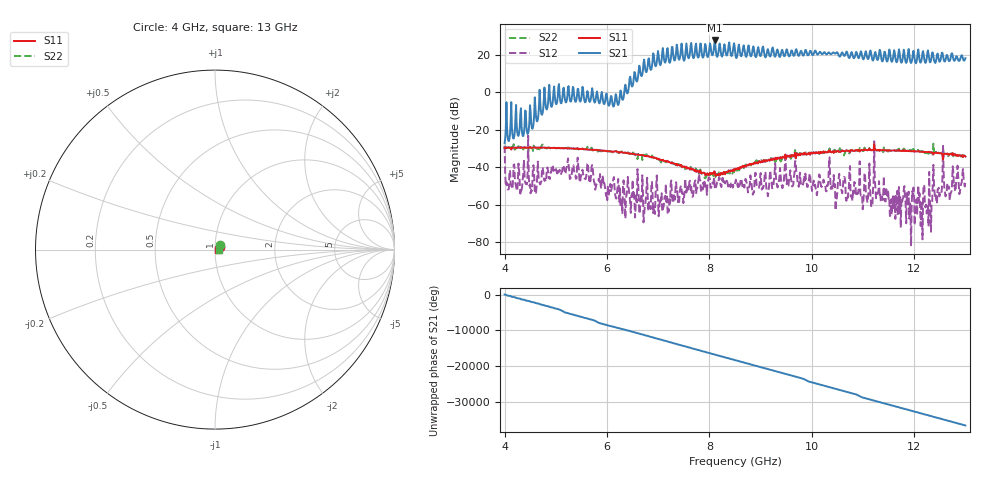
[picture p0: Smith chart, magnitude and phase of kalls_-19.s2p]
! Micran, Research & Production Company
! Date: 2025-04-17 14:09:10
! Frequency	S11	S21	S12	S22
# Hz S dB R 50
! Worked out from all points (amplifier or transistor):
!   764 points, 4 GHz to 13 GHz, reference 50 ohm
!   highest |S21| = 27.6 dB at 8.105 GHz (marker M1)
!   |S21| within 3 dB of that: 8.091682 GHz to 8.117525 GHz (25.84 MHz wide, 0.319 % of centre)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
!   unconditionally stable (mu >= 1): start of sweep to end of sweep
!   at 5.498 GHz: K = 112.11, MAG = -3.2 dB, |S12| = -43.8 dB
!   at 8.506 GHz: K = 11.37, MAG = 20.7 dB, |S12| = -47.8 dB
!   at 13 GHz: K = 14.66, MAG = 18.2 dB, |S12| = -47.5 dB
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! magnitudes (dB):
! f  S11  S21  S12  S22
! 4 GHz  -29.6  -27.1  -28.5  -28.5
! 4.047 GHz  -29.5  -18.8  -48.9  -29.6
! 4.448 GHz  -29.5  -22.2  -44.3  -30.0
! 4.507 GHz  -29.5  -10.2  -53.8  -29.5
! 4.873 GHz  -29.5  4.0  -45.3  -29.7
! 5.51 GHz  -30.1  -0.3  -42.4  -30.2
! 6.218 GHz  -31.8  -6.8  -46.2  -32.0
! 7.008 GHz  -35.4  19.7  -66.0  -35.8
! 8.105 GHz  -42.3  27.6  -50.6  -44.4
! 8.506 GHz  -40.8  20.7  -47.8  -40.4
! 9.143 GHz  -36.3  23.0  -55.3  -36.4
! 9.685 GHz  -35.2  22.4  -36.8  -33.6
! 10 GHz  -32.4  20.3  -52.5  -32.4
! 10.36 GHz  -31.4  20.5  -44.7  -31.1
! 10.48 GHz  -31.7  20.9  -56.6  -31.2
! 10.98 GHz  -30.9  19.3  -55.0  -31.0
! 11.23 GHz  -30.5  21.1  -46.7  -30.3
! 11.5 GHz  -30.9  20.4  -57.6  -30.9
! 12.25 GHz  -31.9  18.3  -64.6  -32.3
! 12.55 GHz  -33.0  21.1  -45.3  -33.1
! 12.69 GHz  -33.1  16.7  -57.4  -32.9
! 13 GHz  -34.2  18.2  -47.5  -34.1
